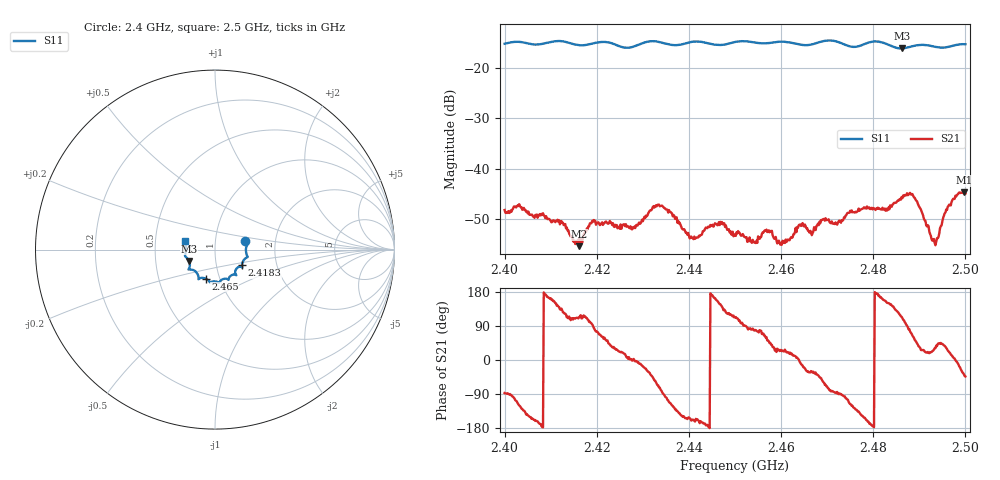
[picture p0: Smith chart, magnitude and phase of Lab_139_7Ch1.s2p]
# Hz S RI R
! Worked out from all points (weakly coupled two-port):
!   601 points, 2.4 GHz to 2.5 GHz, reference 50 ohm
!   highest |S21| = -44.74 dB at 2.4997 GHz (marker M1); lowest = -55.5 dB at 2.4162 GHz (marker M2)
!   lowest |S11| = -16.1 dB at 2.4862 GHz (marker M3), VSWR 1.37, Z = 37.1 - j4.8 ohm
!   |S11| at or under -10 dB: start of sweep to end of sweep
!   S12 and S22 are empty: the file has one direction only
!   S11 on the Smith chart (normalised r, x): 2.4 GHz: 1.40, +0.13; 2.4183 GHz: 1.33, -0.24; 2.465 GHz: 0.86, -0.29; 2.5 GHz: 0.71, +0.07
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2.4e9  0.1693 0.046  0.000193 -0.00386  0 0  0 0
2.411833e9  0.1823 -0.0411  -0.00232 0.00199  0 0  0 0
2.416167e9  0.1578 -0.0626  -0.000667 0.00155  0 0  0 0
2.416667e9  0.1548 -0.0681  -0.000669 0.00185  0 0  0 0
2.418333e9  0.1498 -0.0871  -0.000482 0.00262  0 0  0 0
2.428e9  0.1133 -0.119  0.00255 0.000126  0 0  0 0
2.433333e9  0.1174 -0.1408  0.00171 -0.00403  0 0  0 0
2.4405e9  0.0757 -0.1662  -0.00198 -0.000729  0 0  0 0
2.447e9  0.0435 -0.1649  -0.00229 0.00166  0 0  0 0
2.45e9  0.0251 -0.1807  -0.000846 0.00204  0 0  0 0
2.454333e9  0.0127 -0.1798  0.000349 0.00181  0 0  0 0
2.457333e9  -0.0124 -0.1778  0.00159 0.00184  0 0  0 0
2.460333e9  -0.0284 -0.1816  0.00174 0.000798  0 0  0 0
2.465e9  -0.0524 -0.1618  0.0025 -0.000899  0 0  0 0
2.466667e9  -0.0714 -0.1573  0.00187 -0.00111  0 0  0 0
2.483333e9  -0.1415 -0.0965  -0.00354 0.00209  0 0  0 0
2.486167e9  -0.1443 -0.0631  -0.00211 0.00476  0 0  0 0
2.489e9  -0.1627 -0.0408  0.00307 0.00411  0 0  0 0
2.493167e9  -0.1635 -0.0185  0.00177 0.000914  0 0  0 0
2.496e9  -0.1611 0.0165  0.00338 0.00188  0 0  0 0
2.499667e9  -0.1677 0.0457  0.0046 -0.00352  0 0  0 0
2.5e9  -0.1671 0.047  0.00411 -0.00389  0 0  0 0
